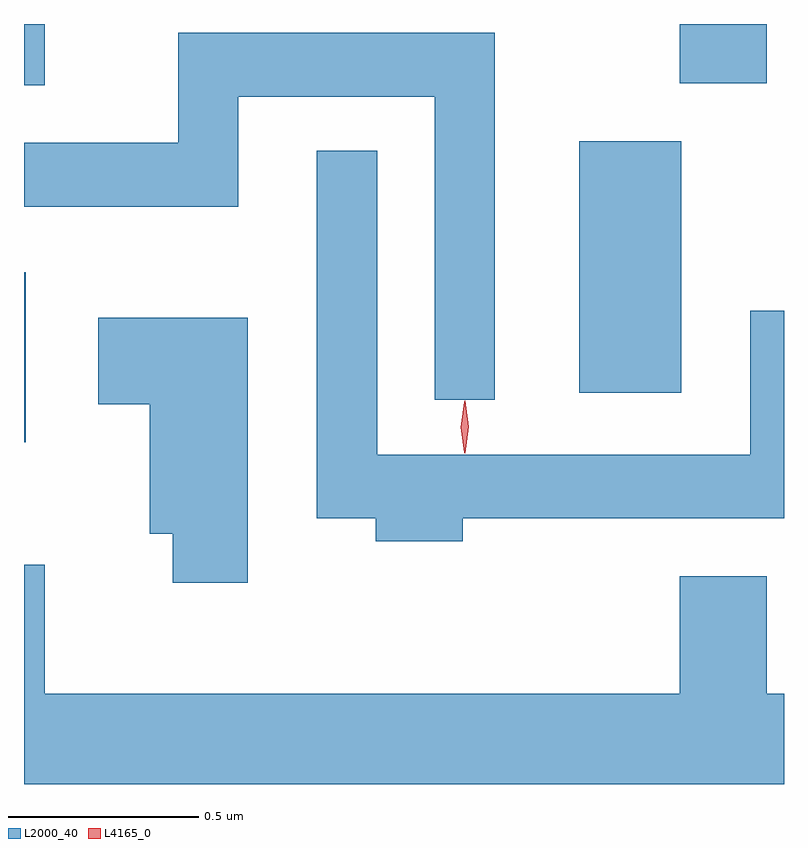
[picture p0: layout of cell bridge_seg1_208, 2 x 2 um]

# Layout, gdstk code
import gdstk
lib = gdstk.Library(unit=1e-6, precision=1e-09)
def R(c, l, rs):  # rectangles x0, y0, x1, y1
    for r in rs: c.add(gdstk.rectangle(r[:2], r[2:], *l))
def P(c, l, *ps):  # polygons
    for p in ps: c.add(gdstk.Polygon(p, *l))
L2000_40 = (2000, 40)
L4165_0 = (4165, 0)

bridge_seg1_208 = lib.new_cell('bridge_seg1_208')
R(bridge_seg1_208, L2000_40, [(703.675,953.786,703.679,954.234), (705.136,953.916,705.404,954.579), (703.675,954.726,703.729,954.887), (705.401,954.731,705.629,954.887)])
P(bridge_seg1_208, L2000_40, [(704.914,954.864),(704.081,954.864),(704.081,954.574),(703.675,954.574),(703.675,954.406),(704.239,954.406),(704.239,954.696),(704.756,954.696),(704.756,953.898),(704.914,953.898)],
  [(704.829,953.586),(705.675,953.586),(705.675,954.133),(705.586,954.133),(705.586,953.754),(704.604,953.754),(704.604,954.553),(704.446,954.553),(704.446,953.586),(704.601,953.586),(704.601,953.526),(704.829,953.526)],
  [(704.264,954.114),(703.871,954.114),(703.871,953.886),(704.006,953.886),(704.006,953.546),(704.066,953.546),(704.066,953.416),(704.264,953.416)],
  [(705.675,953.124),(705.629,953.124),(705.629,953.434),(705.401,953.434),(705.401,953.124),(703.729,953.124),(703.729,953.464),(703.675,953.464),(703.675,952.887),(705.675,952.887)])
P(bridge_seg1_208, L4165_0, [(704.834,953.759),(704.834,953.76),(704.824,953.826),(704.834,953.892),(704.834,953.893),(704.835,953.892),(704.844,953.826),(704.835,953.76)],
  [(704.835,953.757),(704.826,953.827),(704.835,953.896),(704.836,953.896),(704.836,953.896),(704.845,953.827),(704.836,953.757),(704.836,953.757)])

lib.write_gds('bridge_seg1_208.gds')
